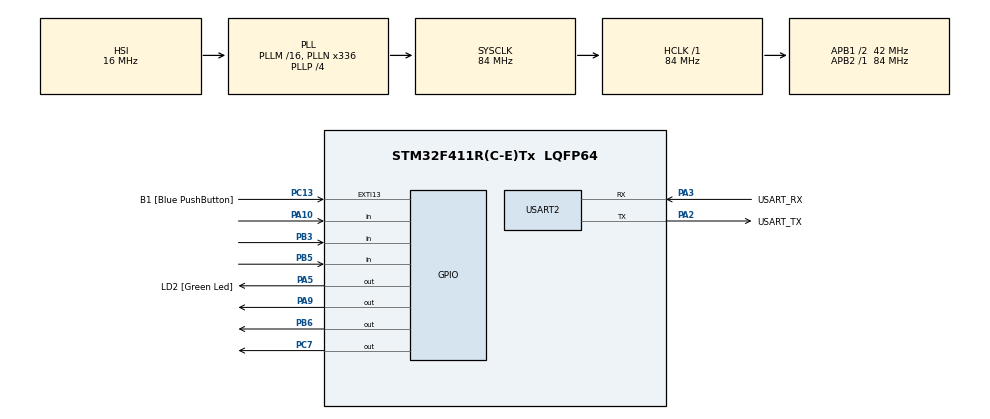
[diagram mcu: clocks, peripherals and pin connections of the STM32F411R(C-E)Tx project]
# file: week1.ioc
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Mcu.Family=STM32F4
Mcu.Name=STM32F411R(C-E)Tx
Mcu.Package=LQFP64
NVIC.PriorityGroup=NVIC_PRIORITYGROUP_0
PA10.Signal=GPIO_Input
PA13.GPIO_Label=TMS
PA13.Mode=Serial_Wire
PA13.Signal=SYS_JTMS-SWDIO
PA14.GPIO_Label=TCK
PA14.Mode=Serial_Wire
PA14.Signal=SYS_JTCK-SWCLK
PA2.GPIO_Label=USART_TX
PA2.Mode=Asynchronous
PA2.Signal=USART2_TX
PA3.GPIO_Label=USART_RX
PA3.Mode=Asynchronous
PA3.Signal=USART2_RX
PA5.GPIO_Label=LD2 [Green Led]
PA5.Signal=GPIO_Output
PA9.Signal=GPIO_Output
PB3.Signal=GPIO_Input
PB5.Signal=GPIO_Input
PB6.Signal=GPIO_Output
PC13-ANTI_TAMP.GPIO_Label=B1 [Blue PushButton]
PC13-ANTI_TAMP.GPIO_ModeDefaultEXTI=GPIO_MODE_IT_FALLING
PC13-ANTI_TAMP.Signal=GPXTI13
PC14-OSC32_IN.Mode=LSE-External-Oscillator
PC14-OSC32_IN.Signal=RCC_OSC32_IN
PC15-OSC32_OUT.Mode=LSE-External-Oscillator
PC15-OSC32_OUT.Signal=RCC_OSC32_OUT
PC7.Signal=GPIO_Output
PH0\ -\ OSC_IN.Mode=HSE-External-Clock-Source
PH0\ -\ OSC_IN.Signal=RCC_OSC_IN
PH1\ -\ OSC_OUT.Mode=HSE-External-Clock-Source
PH1\ -\ OSC_OUT.Signal=RCC_OSC_OUT
ProjectManager.HeapSize=0x200
ProjectManager.StackSize=0x400
ProjectManager.TargetToolchain=STM32CubeIDE
RCC.48MHZClocksFreq_Value=84000000
RCC.AHBFreq_Value=84000000
RCC.APB1CLKDivider=RCC_HCLK_DIV2
RCC.APB1Freq_Value=42000000
RCC.APB1TimFreq_Value=84000000
RCC.APB2Freq_Value=84000000
RCC.APB2TimFreq_Value=84000000
RCC.CortexFreq_Value=84000000
RCC.FLatency-AdvancedSettings=FLASH_LATENCY_2
RCC.HCLKFreq_Value=84000000
RCC.HSE_VALUE=8000000
RCC.HSI_VALUE=16000000
RCC.PLLN=336
RCC.PLLP=RCC_PLLP_DIV4
RCC.SYSCLKFreq_VALUE=84000000
RCC.SYSCLKSource=RCC_SYSCLKSOURCE_PLLCLK
RCC.VCOOutputFreq_Value=336000000
USART2.VirtualMode=VM_ASYNC
board=NUCLEO-F411RE

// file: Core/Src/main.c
/* USER CODE BEGIN Header */
/**
  ******************************************************************************
  * @file           : main.c
  * @brief          : Main program body
  ******************************************************************************
  * @attention
  *
  * <h2><center>&copy; Copyright (c) 2021 STMicroelectronics.
  * All rights reserved.</center></h2>
  *
  * This software component is licensed by ST under BSD 3-Clause license,
  * the "License"; You may not use this file except in compliance with the
  * License. You may obtain a copy of the License at:
  *                        opensource.org/licenses/BSD-3-Clause
  *
  ******************************************************************************
  */
/* USER CODE END Header */
#include "main.h"

UART_HandleTypeDef huart2;

void SystemClock_Config(void);
static void MX_GPIO_Init(void);
static void MX_USART2_UART_Init(void);

int main(void)
{

  /* MCU Configuration--------------------------------------------------------*/

  /* Reset of all peripherals, Initializes the Flash interface and the Systick. */
  HAL_Init();

  /* Configure the system clock */
  SystemClock_Config();

  /* Initialize all configured peripherals */
  MX_GPIO_Init();
  MX_USART2_UART_Init();
  /* USER CODE BEGIN 2 */
  //------------------------------------------------------
   GPIO_PinState SwitchState1[2];  //Now, Previous
   GPIO_PinState SwitchState2[2];  //Now, Previous
   GPIO_PinState SwitchState3[2];  //Now, Previous
   uint16_t LED1_Half_Period = 1000;  // 0.5 Hz

   uint8_t press = 0;
   uint8_t mode = 0;
   uint32_t TimeStamp1 = 0;
   uint32_t TimeStamp3 = 0;

   uint32_t ButtonTimeStamp1 = 0;
   uint32_t ButtonTimeStamp2 = 0;
   uint32_t ButtonTimeStamp3 = 0;

  //------------------------------------------------------
  /* USER CODE END 2 */

  /* Infinite loop */
  /* USER CODE BEGIN WHILE */
  while (1)
  {
   if(HAL_GetTick() - ButtonTimeStamp1 >= 100)
   {
    ButtonTimeStamp1 = HAL_GetTick();

    SwitchState1[0] = HAL_GPIO_ReadPin(GPIOA, GPIO_PIN_10);
       //Press = Low , No = High
       if(SwitchState1[0] == GPIO_PIN_SET && SwitchState1[1] == GPIO_PIN_RESET)
       // set = high , reset = low
       {
        //Change Half Period of LED 1
        if(LED1_Half_Period == 1000)
        {
        	LED1_Half_Period = 500;
        }
        else if (LED1_Half_Period == 500)
        {
        	LED1_Half_Period = 250;
		}
        else if (LED1_Half_Period == 250)
        {
        	LED1_Half_Period = 166;
        }
        else
        {
        	LED1_Half_Period = 1000;
        }
        //else if (LED1_Half_Period == 166)
       }
       SwitchState1[1] = SwitchState1[0];
   }
   //-------------------------------------------------------------------------// LED3
   if(HAL_GetTick() - ButtonTimeStamp2 >= 100)
   {
    ButtonTimeStamp2 = HAL_GetTick();

    SwitchState2[0] = HAL_GPIO_ReadPin(GPIOB, GPIO_PIN_3);
       //Press = Low , No = High
       if(SwitchState2[0] == GPIO_PIN_SET && SwitchState2[1] == GPIO_PIN_RESET)
       // set = high , reset = low
       {
        //Change Half Period of LED 1
         if(press == 0)
         {
    	   	press=1;
         }
         else if (press==1)
         {
           	press=0;
         }
       }
       SwitchState2[1] = SwitchState2[0];
   }
   //-------------------------------------------------------------------------// LED5
      if(HAL_GetTick() - ButtonTimeStamp3 >= 100)
      {
       ButtonTimeStamp3 = HAL_GetTick();

       SwitchState3[0] = HAL_GPIO_ReadPin(GPIOB, GPIO_PIN_5);
          //Press = Low , No = High
          if(SwitchState3[0] == GPIO_PIN_SET && SwitchState3[1] == GPIO_PIN_RESET)
          // set = high , reset = low
          {
           //Change Half Period of LED 1
            if(mode == 0)
            {
            	mode=1;
            }
            else if (mode==1)
            {
              	mode=0;
            }
          }
          SwitchState3[1] = SwitchState3[0];
      }

   //Run LED1------------------------------------------------------------//
   if(HAL_GetTick() - TimeStamp1 >= LED1_Half_Period) //millisecond now time
   {
    TimeStamp1 = HAL_GetTick();
    if(HAL_GPIO_ReadPin(GPIOA, GPIO_PIN_9) == GPIO_PIN_SET)
    {
     HAL_GPIO_WritePin(GPIOA, GPIO_PIN_9, GPIO_PIN_RESET);
    }
    else
    {
     HAL_GPIO_WritePin(GPIOA, GPIO_PIN_9, GPIO_PIN_SET);
    }
   }
   //Run LED3-------------------------------------------------------------//
   if(press == 1)
   {
	HAL_GPIO_WritePin(GPIOC, GPIO_PIN_7, GPIO_PIN_SET);
   }
   else if (press == 0)
   {
	HAL_GPIO_WritePin(GPIOC, GPIO_PIN_7, GPIO_PIN_RESET);
   }
   //Run LED5--------------------------------------------------//
   if(mode == 0)
   {
     if(HAL_GetTick() - TimeStamp3 >= 0 && HAL_GetTick() - TimeStamp3 <= 1500 ) //millisecond now time
        {
             HAL_GPIO_WritePin(GPIOB, GPIO_PIN_6, GPIO_PIN_RESET);
        }
     else if(HAL_GetTick() - TimeStamp3 >= 1500 && HAL_GetTick() - TimeStamp3 <= 2000)
        {
         	 HAL_GPIO_WritePin(GPIOB, GPIO_PIN_6, GPIO_PIN_SET);
        }
     else if(HAL_GetTick() - TimeStamp3 >= 2000)
        {
            TimeStamp3 = HAL_GetTick();
        }
   }

   else if(mode == 1)
   {
     if(HAL_GetTick() - TimeStamp3 >= 0 && HAL_GetTick() - TimeStamp3 <= 1500 ) //millisecond now time
        {
            HAL_GPIO_WritePin(GPIOB, GPIO_PIN_6, GPIO_PIN_SET);
        }
     else if(HAL_GetTick() - TimeStamp3 >= 1500 && HAL_GetTick() - TimeStamp3 <= 2000)
        {
            HAL_GPIO_WritePin(GPIOB, GPIO_PIN_6, GPIO_PIN_RESET);
        }
     else if(HAL_GetTick() - TimeStamp3 >= 2000)
        {
            TimeStamp3 = HAL_GetTick();
        }
   }

    /* USER CODE END WHILE */

  }
}

void SystemClock_Config(void)
{
  RCC_OscInitTypeDef RCC_OscInitStruct = {0};
  RCC_ClkInitTypeDef RCC_ClkInitStruct = {0};

  /** Configure the main internal regulator output voltage
  */
  __HAL_RCC_PWR_CLK_ENABLE();
  __HAL_PWR_VOLTAGESCALING_CONFIG(PWR_REGULATOR_VOLTAGE_SCALE1);
  /** Initializes the RCC Oscillators according to the specified parameters
  * in the RCC_OscInitTypeDef structure.
  */
  RCC_OscInitStruct.OscillatorType = RCC_OSCILLATORTYPE_HSI;
  RCC_OscInitStruct.HSIState = RCC_HSI_ON;
  RCC_OscInitStruct.HSICalibrationValue = RCC_HSICALIBRATION_DEFAULT;
  RCC_OscInitStruct.PLL.PLLState = RCC_PLL_ON;
  RCC_OscInitStruct.PLL.PLLSource = RCC_PLLSOURCE_HSI;
  RCC_OscInitStruct.PLL.PLLM = 16;
  RCC_OscInitStruct.PLL.PLLN = 336;
  RCC_OscInitStruct.PLL.PLLP = RCC_PLLP_DIV4;
  RCC_OscInitStruct.PLL.PLLQ = 4;
  if (HAL_RCC_OscConfig(&RCC_OscInitStruct) != HAL_OK)
  {
    Error_Handler();
  }
  /** Initializes the CPU, AHB and APB buses clocks
  */
  RCC_ClkInitStruct.ClockType = RCC_CLOCKTYPE_HCLK|RCC_CLOCKTYPE_SYSCLK
                              |RCC_CLOCKTYPE_PCLK1|RCC_CLOCKTYPE_PCLK2;
  RCC_ClkInitStruct.SYSCLKSource = RCC_SYSCLKSOURCE_PLLCLK;
  RCC_ClkInitStruct.AHBCLKDivider = RCC_SYSCLK_DIV1;
  RCC_ClkInitStruct.APB1CLKDivider = RCC_HCLK_DIV2;
  RCC_ClkInitStruct.APB2CLKDivider = RCC_HCLK_DIV1;

  if (HAL_RCC_ClockConfig(&RCC_ClkInitStruct, FLASH_LATENCY_2) != HAL_OK)
  {
    Error_Handler();
  }
}

static void MX_USART2_UART_Init(void)
{

  huart2.Instance = USART2;
  huart2.Init.BaudRate = 115200;
  huart2.Init.WordLength = UART_WORDLENGTH_8B;
  huart2.Init.StopBits = UART_STOPBITS_1;
  huart2.Init.Parity = UART_PARITY_NONE;
  huart2.Init.Mode = UART_MODE_TX_RX;
  huart2.Init.HwFlowCtl = UART_HWCONTROL_NONE;
  huart2.Init.OverSampling = UART_OVERSAMPLING_16;
  if (HAL_UART_Init(&huart2) != HAL_OK)
  {
    Error_Handler();
  }

}

static void MX_GPIO_Init(void)
{
  GPIO_InitTypeDef GPIO_InitStruct = {0};

  /* GPIO Ports Clock Enable */
  __HAL_RCC_GPIOC_CLK_ENABLE();
  __HAL_RCC_GPIOH_CLK_ENABLE();
  __HAL_RCC_GPIOA_CLK_ENABLE();
  __HAL_RCC_GPIOB_CLK_ENABLE();

  /*Configure GPIO pin Output Level */
  HAL_GPIO_WritePin(GPIOA, LD2_Pin|GPIO_PIN_9, GPIO_PIN_RESET);

  /*Configure GPIO pin Output Level */
  HAL_GPIO_WritePin(GPIOC, GPIO_PIN_7, GPIO_PIN_RESET);

  /*Configure GPIO pin Output Level */
  HAL_GPIO_WritePin(GPIOB, GPIO_PIN_6, GPIO_PIN_RESET);

  /*Configure GPIO pin : B1_Pin */
  GPIO_InitStruct.Pin = B1_Pin;
  GPIO_InitStruct.Mode = GPIO_MODE_IT_FALLING;
  GPIO_InitStruct.Pull = GPIO_NOPULL;
  HAL_GPIO_Init(B1_GPIO_Port, &GPIO_InitStruct);

  /*Configure GPIO pins : LD2_Pin PA9 */
  GPIO_InitStruct.Pin = LD2_Pin|GPIO_PIN_9;
  GPIO_InitStruct.Mode = GPIO_MODE_OUTPUT_PP;
  GPIO_InitStruct.Pull = GPIO_NOPULL;
  GPIO_InitStruct.Speed = GPIO_SPEED_FREQ_LOW;
  HAL_GPIO_Init(GPIOA, &GPIO_InitStruct);

  /*Configure GPIO pin : PC7 */
  GPIO_InitStruct.Pin = GPIO_PIN_7;
  GPIO_InitStruct.Mode = GPIO_MODE_OUTPUT_PP;
  GPIO_InitStruct.Pull = GPIO_NOPULL;
  GPIO_InitStruct.Speed = GPIO_SPEED_FREQ_LOW;
  HAL_GPIO_Init(GPIOC, &GPIO_InitStruct);

  /*Configure GPIO pin : PA10 */
  GPIO_InitStruct.Pin = GPIO_PIN_10;
  GPIO_InitStruct.Mode = GPIO_MODE_INPUT;
  GPIO_InitStruct.Pull = GPIO_NOPULL;
  HAL_GPIO_Init(GPIOA, &GPIO_InitStruct);

  /*Configure GPIO pins : PB3 PB5 */
  GPIO_InitStruct.Pin = GPIO_PIN_3|GPIO_PIN_5;
  GPIO_InitStruct.Mode = GPIO_MODE_INPUT;
  GPIO_InitStruct.Pull = GPIO_NOPULL;
  HAL_GPIO_Init(GPIOB, &GPIO_InitStruct);

  /*Configure GPIO pin : PB6 */
  GPIO_InitStruct.Pin = GPIO_PIN_6;
  GPIO_InitStruct.Mode = GPIO_MODE_OUTPUT_PP;
  GPIO_InitStruct.Pull = GPIO_NOPULL;
  GPIO_InitStruct.Speed = GPIO_SPEED_FREQ_LOW;
  HAL_GPIO_Init(GPIOB, &GPIO_InitStruct);

}

void Error_Handler(void)
{
  __disable_irq();
  while (1)
  {
  }
}

/************************ (C) COPYRIGHT STMicroelectronics *****END OF FILE****/
